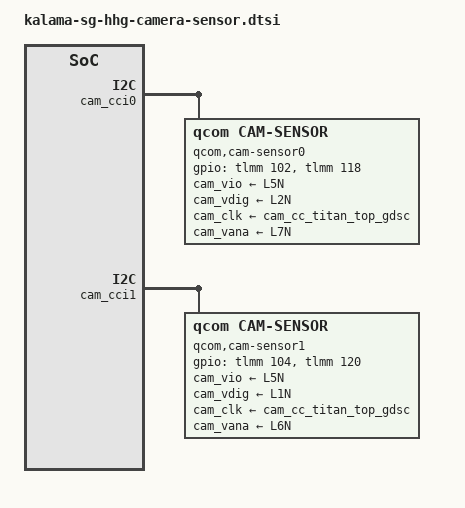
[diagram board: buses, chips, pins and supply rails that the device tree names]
// SPDX-License-Identifier: BSD-3-Clause
/*
 * Copyright (c) 2023 Qualcomm Innovation Center, Inc. All rights reserved.
 */

#include <dt-bindings/msm-camera.h>

&soc {
	qcom,cam-res-mgr {
		compatible = "qcom,cam-res-mgr";
		status = "ok";
	};
};

&cam_cci0 {
	qcom,cam-sensor0 {
		cell-index = <2>;
		compatible = "qcom,cam-sensor";
		csiphy-sd-index = <2>;
		sensor-position-roll = <90>;
		sensor-position-pitch = <0>;
		sensor-position-yaw = <180>;
		cam_vio-supply = <&L5N>;
		cam_vdig-supply = <&L2N>;
		cam_clk-supply = <&cam_cc_titan_top_gdsc>;
		cam_vana-supply = <&L7N>;
		regulator-names = "cam_vio", "cam_vdig", "cam_clk",
			"cam_vana";
		rgltr-cntrl-support;
		rgltr-min-voltage = <1800000 1200000 0 2800000>;
		rgltr-max-voltage = <1800000 1200000 0 2800000>;
		rgltr-load-current = <120000 1200000 0 80000>;
		gpio-no-mux = <0>;
		pinctrl-names = "cam_default", "cam_suspend";
		pinctrl-0 = <&cam_sensor_mclk2_active
				 &cam_sensor_active_rst2>;
		pinctrl-1 = <&cam_sensor_mclk2_suspend
				 &cam_sensor_suspend_rst2>;
		gpios = <&tlmm 102 0>,
			<&tlmm 118 0>;
		gpio-reset = <1>;
		gpio-req-tbl-num = <0 1>;
		gpio-req-tbl-flags = <1 0>;
		gpio-req-tbl-label = "CAMIF_MCLK2",
					"CAM_RESET2";
		cci-master = <CCI_MASTER_1>;
		clocks = <&camcc CAM_CC_MCLK2_CLK>;
		clock-names = "cam_clk";
		clock-cntl-level = "nominal";
		clock-rates = <24000000>;
		status = "ok";
	};
};

&cam_cci1 {
	qcom,cam-sensor1 {
		cell-index = <4>;
		compatible = "qcom,cam-sensor";
		csiphy-sd-index = <4>;
		sensor-position-roll = <270>;
		sensor-position-pitch = <0>;
		sensor-position-yaw = <0>;
		cam_vio-supply = <&L5N>;
		cam_vdig-supply = <&L1N>;
		cam_clk-supply = <&cam_cc_titan_top_gdsc>;
		cam_vana-supply = <&L6N>;
		regulator-names = "cam_vio", "cam_vdig","cam_clk", "cam_vana";
		rgltr-cntrl-support;
		aon-camera-id = <AON_CAM1>;
		rgltr-min-voltage = <1800000 1200000 0 2800000>;
		rgltr-max-voltage = <1800000 1200000 0 2800000>;
		rgltr-load-current = <120000 1200000 0  80000>;
		gpio-no-mux = <0>;
		pinctrl-names = "cam_default", "cam_suspend";
		pinctrl-0 = <&cam_sensor_mclk4_active
				 &cam_sensor_active_rst4>;
		pinctrl-1 = <&cam_sensor_mclk4_suspend
				 &cam_sensor_suspend_rst4>;
		gpios = <&tlmm 104 0>,
			<&tlmm 120 0>;
		gpio-reset = <1>;
		gpio-req-tbl-num = <0 1>;
		gpio-req-tbl-flags = <1 0>;
		gpio-req-tbl-label = "CAMIF_MCLK4",
					"CAM_RESET4";
		cci-master = <CCI_MASTER_1>;
		clocks = <&camcc CAM_CC_MCLK4_CLK>;
		clock-names = "cam_clk";
		clock-cntl-level = "nominal";
		clock-rates = <24000000>;
		status = "ok";
	};
};

